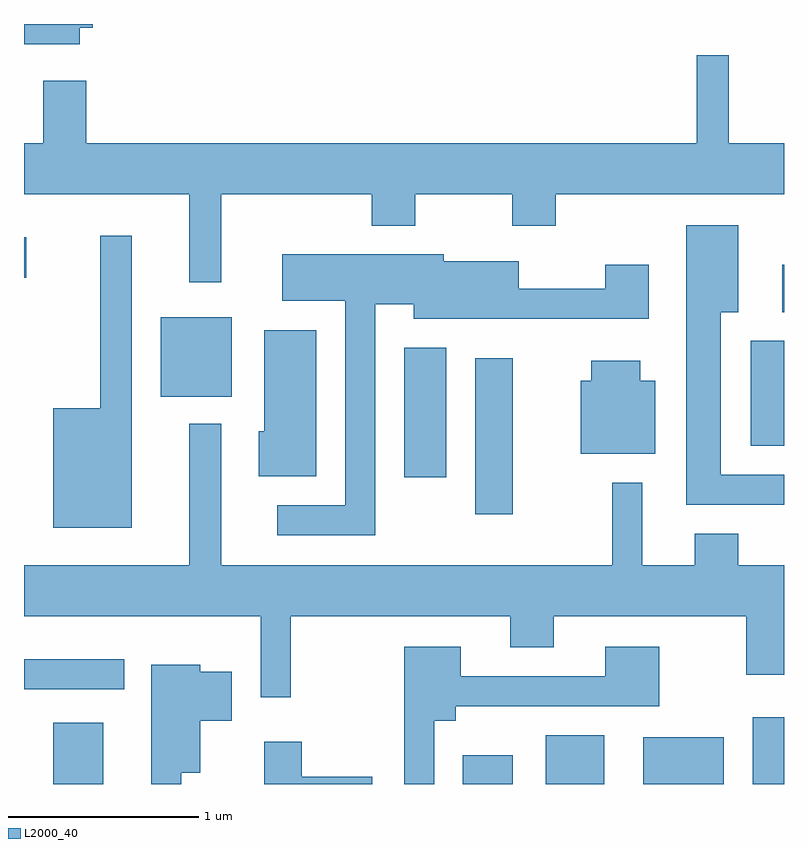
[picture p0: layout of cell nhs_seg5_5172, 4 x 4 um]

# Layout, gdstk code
import gdstk
lib = gdstk.Library(unit=1e-6, precision=1e-09)
def R(c, l, rs):  # rectangles x0, y0, x1, y1
    for r in rs: c.add(gdstk.rectangle(r[:2], r[2:], *l))
def P(c, l, *ps):  # polygons
    for p in ps: c.add(gdstk.Polygon(p, *l))
L2000_40 = (2000, 40)

nhs_seg5_5172 = lib.new_cell('nhs_seg5_5172')
R(nhs_seg5_5172, L2000_40, [(337.766,1518.072,338.029,1518.394), (339.921,1518.072,340.184,1518.224), (340.356,1518.072,340.664,1518.329), (340.871,1518.072,341.294,1518.319), (341.446,1518.072,341.611,1518.424), (337.611,1518.571,338.138,1518.729), (339.986,1519.491,340.184,1520.314), (339.611,1519.686,339.834,1520.369), (341.436,1519.851,341.611,1520.404), (338.331,1520.111,338.704,1520.529), (341.601,1520.556,341.611,1520.804), (337.611,1520.736,337.624,1520.949)])
P(nhs_seg5_5172, L2000_40, [(337.904,1522.051),(337.974,1522.051),(337.974,1522.072),(337.611,1522.072),(337.611,1521.966),(337.904,1521.966)],
  [(338.649,1521.176),(339.441,1521.176),(339.441,1521.011),(339.669,1521.011),(339.669,1521.176),(340.181,1521.176),(340.181,1521.011),(340.409,1521.011),(340.409,1521.176),(341.611,1521.176),(341.611,1521.444),(341.319,1521.444),(341.319,1521.908),(341.151,1521.908),(341.151,1521.444),(337.939,1521.444),(337.939,1521.774),(337.711,1521.774),(337.711,1521.444),(337.611,1521.444),(337.611,1521.176),(338.481,1521.176),(338.481,1520.713),(338.649,1520.713)],
  [(341.611,1519.699),(341.279,1519.699),(341.279,1520.556),(341.369,1520.556),(341.369,1521.014),(341.096,1521.014),(341.096,1519.541),(341.611,1519.541)],
  [(338.179,1520.958),(338.011,1520.958),(338.011,1520.049),(337.766,1520.049),(337.766,1519.421),(338.179,1519.421)],
  [(339.459,1520.596),(339.661,1520.596),(339.661,1520.521),(340.899,1520.521),(340.899,1520.804),(340.671,1520.804),(340.671,1520.679),(340.214,1520.679),(340.214,1520.824),(339.819,1520.824),(339.819,1520.859),(338.971,1520.859),(338.971,1520.616),(339.301,1520.616),(339.301,1519.539),(338.943,1519.539),(338.943,1519.381),(339.459,1519.381)],
  [(339.149,1520.459),(338.876,1520.459),(338.876,1519.929),(338.846,1519.929),(338.846,1519.691),(339.149,1519.691)],
  [(340.934,1520.194),(340.854,1520.194),(340.854,1520.299),(340.596,1520.299),(340.596,1520.194),(340.541,1520.194),(340.541,1519.811),(340.934,1519.811)],
  [(339.014,1518.956),(340.171,1518.956),(340.171,1518.791),(340.399,1518.791),(340.399,1518.956),(341.411,1518.956),(341.411,1518.646),(341.611,1518.646),(341.611,1519.224),(341.369,1519.224),(341.369,1519.389),(341.141,1519.389),(341.141,1519.224),(340.864,1519.224),(340.864,1519.658),(340.706,1519.658),(340.706,1519.224),(338.649,1519.224),(338.649,1519.968),(338.481,1519.968),(338.481,1519.224),(337.611,1519.224),(337.611,1518.956),(338.856,1518.956),(338.856,1518.528),(339.014,1518.528)],
  [(339.769,1518.406),(339.884,1518.406),(339.884,1518.481),(340.954,1518.481),(340.954,1518.794),(340.671,1518.794),(340.671,1518.639),(339.909,1518.639),(339.909,1518.794),(339.611,1518.794),(339.611,1518.072),(339.769,1518.072)],
  [(338.439,1518.131),(338.539,1518.131),(338.539,1518.406),(338.704,1518.406),(338.704,1518.664),(338.539,1518.664),(338.539,1518.699),(338.281,1518.699),(338.281,1518.072),(338.439,1518.072)],
  [(339.444,1518.109),(339.074,1518.109),(339.074,1518.294),(338.876,1518.294),(338.876,1518.072),(339.444,1518.072)])

lib.write_gds('nhs_seg5_5172.gds')
